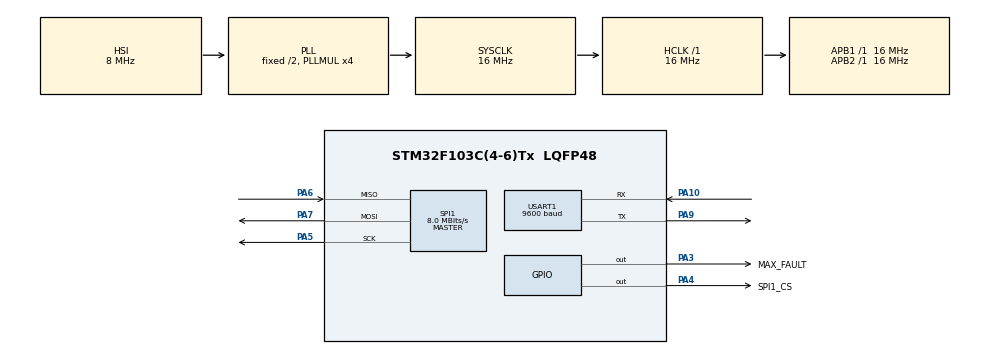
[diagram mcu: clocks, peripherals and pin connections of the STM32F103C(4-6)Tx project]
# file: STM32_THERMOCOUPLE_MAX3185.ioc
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Mcu.Family=STM32F1
Mcu.Name=STM32F103C(4-6)Tx
Mcu.Package=LQFP48
NVIC.PriorityGroup=NVIC_PRIORITYGROUP_4
PA10.Mode=Asynchronous
PA10.Signal=USART1_RX
PA3.GPIO_Label=MAX_FAULT
PA3.Signal=GPIO_Output
PA4.GPIO_Label=SPI1_CS
PA4.Signal=GPIO_Output
PA5.Mode=Full_Duplex_Master
PA5.Signal=SPI1_SCK
PA6.Mode=Full_Duplex_Master
PA6.Signal=SPI1_MISO
PA7.Mode=Full_Duplex_Master
PA7.Signal=SPI1_MOSI
PA9.Mode=Asynchronous
PA9.Signal=USART1_TX
ProjectManager.HeapSize=0x200
ProjectManager.StackSize=0x400
ProjectManager.TargetToolchain=STM32CubeIDE
RCC.AHBFreq_Value=16000000
RCC.APB1Freq_Value=16000000
RCC.APB1TimFreq_Value=16000000
RCC.APB2Freq_Value=16000000
RCC.APB2TimFreq_Value=16000000
RCC.HCLKFreq_Value=16000000
RCC.PLLMUL=RCC_PLL_MUL4
RCC.SYSCLKFreq_VALUE=16000000
RCC.SYSCLKSource=RCC_SYSCLKSOURCE_PLLCLK
RCC.USBFreq_Value=16000000
SPI1.CLKPhase=SPI_PHASE_2EDGE
SPI1.CalculateBaudRate=8.0 MBits/s
SPI1.Direction=SPI_DIRECTION_2LINES
SPI1.Mode=SPI_MODE_MASTER
SPI1.VirtualType=VM_MASTER
USART1.BaudRate=9600
USART1.VirtualMode=VM_ASYNC
VP_SYS_VS_ND.Mode=No_Debug
board=custom

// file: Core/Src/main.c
/* USER CODE BEGIN Header */
/**
  ******************************************************************************
  * @file           : main.c
  * @brief          : Main program body
  ******************************************************************************
  * @attention
  *
  * Copyright (c) 2024 STMicroelectronics.
  * All rights reserved.
  *
  * This software is licensed under terms that can be found in the LICENSE file
  * in the root directory of this software component.
  * If no LICENSE file comes with this software, it is provided AS-IS.
  *
  ******************************************************************************
  */
/* USER CODE END Header */
#include "main.h"

/* USER CODE BEGIN Includes */
#include "Max31856.h"
#include<stdio.h>
#include<string.h>
/* USER CODE END Includes */

SPI_HandleTypeDef hspi1;

UART_HandleTypeDef huart1;

void SystemClock_Config(void);
static void MX_GPIO_Init(void);
static void MX_SPI1_Init(void);
static void MX_USART1_UART_Init(void);

int main(void)
{

  /* USER CODE BEGIN 1 */
  char MSG[100];
       char MSG0[100];
       char MSG1[100]=  "Could not initialize thermocouple\n\r";
       char MSG3[100]=  "$$***************************************$$\n\r";
       char MSG2[100]=  "Thermocouple type: ";
       char MSG4[100]=  "B Type\n\r";
       char MSG5[100]=  "E Type\n\r";
       char MSG6[100]=  "J Type\n\r";
       char MSG7[100]=  "K Type\n\r";
       char MSG8[100]=  "N Type\n\r";
       char MSG9[100]=  "R Type\n\r";
       char MSG10[100]= "S Type\n\r";
       char MSG11[100]= "T Type\n\r";
       char MSG12[100]= "Voltage x8 Gain mode\n\r";
       char MSG13[100]= "Voltage x8 Gain mode\n\r";
       char MSG14[100]= "Unknown\n\r";
       char MSG15[100]= "Cold Junction Range Fault\n\r";
       char MSG16[100]= "Thermocouple Range Fault\n\r";
       char MSG17[100]= "Cold Junction High Fault\n\r";
       char MSG18[100]= "Cold Junction Low Fault\n\r";
       char MSG19[100]= "Thermocouple High Fault\n\r";
       char MSG20[100]= "Thermocouple Low Fault\n\r";
       char MSG21[100]= "Over/Under Voltage Fault\n\r";
       char MSG22[100]= "hermocouple Open Faultn\r";

  /* USER CODE END 1 */

  /* MCU Configuration--------------------------------------------------------*/

  /* Reset of all peripherals, Initializes the Flash interface and the Systick. */
  HAL_Init();

  /* Configure the system clock */
  SystemClock_Config();

  /* Initialize all configured peripherals */
  MX_GPIO_Init();
  MX_SPI1_Init();
  MX_USART1_UART_Init();
  /* USER CODE BEGIN 2 */
  if (!begin()) {
        HAL_UART_Transmit(&huart1,(uint8_t*)MSG1,sizeof(MSG1), 100);
        while (1) HAL_Delay(10);
      }
    setThermocoupleType(MAX31856_TCTYPE_K);
    HAL_UART_Transmit(&huart1,(uint8_t*)MSG2,sizeof(MSG2), 100);

  switch (getThermocoupleType() ) {
    case MAX31856_TCTYPE_B: HAL_UART_Transmit(&huart1,(uint8_t*)MSG4,sizeof(MSG4), 100);  break;
    case MAX31856_TCTYPE_E: HAL_UART_Transmit(&huart1,(uint8_t*)MSG5,sizeof(MSG5), 100);  break;
    case MAX31856_TCTYPE_J: HAL_UART_Transmit(&huart1,(uint8_t*)MSG6,sizeof(MSG6), 100);  break;
    case MAX31856_TCTYPE_K: HAL_UART_Transmit(&huart1,(uint8_t*)MSG7,sizeof(MSG7), 100);  break;
    case MAX31856_TCTYPE_N: HAL_UART_Transmit(&huart1,(uint8_t*)MSG8,sizeof(MSG8), 100);  break;
    case MAX31856_TCTYPE_R: HAL_UART_Transmit(&huart1,(uint8_t*)MSG9,sizeof(MSG9), 100);  break;
    case MAX31856_TCTYPE_S: HAL_UART_Transmit(&huart1,(uint8_t*)MSG10,sizeof(MSG10), 100);  break;
    case MAX31856_TCTYPE_T: HAL_UART_Transmit(&huart1,(uint8_t*)MSG11,sizeof(MSG11), 100);  break;
    case MAX31856_VMODE_G8:  HAL_UART_Transmit(&huart1,(uint8_t*)MSG12,sizeof(MSG12), 100); break;
    case MAX31856_VMODE_G32: HAL_UART_Transmit(&huart1,(uint8_t*)MSG13,sizeof(MSG13), 100); break;
    default:  HAL_UART_Transmit(&huart1,(uint8_t*)MSG14,sizeof(MSG14), 100);break;
    }
  HAL_Delay(2000);
  /* USER CODE END 2 */

  /* Infinite loop */
  while (1)
  {

    /* USER CODE BEGIN 3 */
    sprintf(MSG,"1-Cold Junction Temp: %.2f degrees Celsius\n\r",readCJTemperature());
    sprintf(MSG0,"2-Thermocouple Temp: %.2f degrees Celsius\n\r",
    readThermocoupleTemperature());
    HAL_UART_Transmit(&huart1,(uint8_t *) MSG, sizeof(MSG), 100);
    HAL_UART_Transmit(&huart1,(uint8_t *) MSG0, sizeof(MSG0), 100);
    HAL_UART_Transmit(&huart1,(uint8_t *) MSG3, sizeof(MSG3), 100);
    uint8_t fault = readFault();
    if (fault) {
    if (fault & MAX31856_FAULT_CJRANGE)  HAL_UART_Transmit(&huart1,(uint8_t*)MSG15,sizeof(MSG15), 100);
    if (fault & MAX31856_FAULT_TCRANGE)  HAL_UART_Transmit(&huart1,(uint8_t*)MSG16,sizeof(MSG16), 100);
    if (fault & MAX31856_FAULT_CJHIGH)   HAL_UART_Transmit(&huart1,(uint8_t*)MSG17,sizeof(MSG17), 100);
    if (fault & MAX31856_FAULT_CJLOW)    HAL_UART_Transmit(&huart1,(uint8_t*)MSG18,sizeof(MSG18), 100);
    if (fault & MAX31856_FAULT_TCHIGH)   HAL_UART_Transmit(&huart1,(uint8_t*)MSG19,sizeof(MSG19), 100);
    if (fault & MAX31856_FAULT_TCLOW)    HAL_UART_Transmit(&huart1,(uint8_t*)MSG20,sizeof(MSG20), 100);
    if (fault & MAX31856_FAULT_OVUV)     HAL_UART_Transmit(&huart1,(uint8_t*)MSG21,sizeof(MSG21), 100);
    if (fault & MAX31856_FAULT_OPEN)     HAL_UART_Transmit(&huart1,(uint8_t*)MSG22,sizeof(MSG22), 100);
    }
    HAL_UART_Transmit(&huart1,(uint8_t *) MSG, sizeof(MSG), 100);
    HAL_Delay(1000);
  }
  /* USER CODE END 3 */
}

void SystemClock_Config(void)
{
  RCC_OscInitTypeDef RCC_OscInitStruct = {0};
  RCC_ClkInitTypeDef RCC_ClkInitStruct = {0};

  /** Initializes the RCC Oscillators according to the specified parameters
  * in the RCC_OscInitTypeDef structure.
  */
  RCC_OscInitStruct.OscillatorType = RCC_OSCILLATORTYPE_HSI;
  RCC_OscInitStruct.HSIState = RCC_HSI_ON;
  RCC_OscInitStruct.HSICalibrationValue = RCC_HSICALIBRATION_DEFAULT;
  RCC_OscInitStruct.PLL.PLLState = RCC_PLL_ON;
  RCC_OscInitStruct.PLL.PLLSource = RCC_PLLSOURCE_HSI_DIV2;
  RCC_OscInitStruct.PLL.PLLMUL = RCC_PLL_MUL4;
  if (HAL_RCC_OscConfig(&RCC_OscInitStruct) != HAL_OK)
  {
    Error_Handler();
  }

  /** Initializes the CPU, AHB and APB buses clocks
  */
  RCC_ClkInitStruct.ClockType = RCC_CLOCKTYPE_HCLK|RCC_CLOCKTYPE_SYSCLK
                              |RCC_CLOCKTYPE_PCLK1|RCC_CLOCKTYPE_PCLK2;
  RCC_ClkInitStruct.SYSCLKSource = RCC_SYSCLKSOURCE_PLLCLK;
  RCC_ClkInitStruct.AHBCLKDivider = RCC_SYSCLK_DIV1;
  RCC_ClkInitStruct.APB1CLKDivider = RCC_HCLK_DIV1;
  RCC_ClkInitStruct.APB2CLKDivider = RCC_HCLK_DIV1;

  if (HAL_RCC_ClockConfig(&RCC_ClkInitStruct, FLASH_LATENCY_0) != HAL_OK)
  {
    Error_Handler();
  }
}

static void MX_SPI1_Init(void)
{

  /* SPI1 parameter configuration*/
  hspi1.Instance = SPI1;
  hspi1.Init.Mode = SPI_MODE_MASTER;
  hspi1.Init.Direction = SPI_DIRECTION_2LINES;
  hspi1.Init.DataSize = SPI_DATASIZE_8BIT;
  hspi1.Init.CLKPolarity = SPI_POLARITY_LOW;
  hspi1.Init.CLKPhase = SPI_PHASE_2EDGE;
  hspi1.Init.NSS = SPI_NSS_SOFT;
  hspi1.Init.BaudRatePrescaler = SPI_BAUDRATEPRESCALER_2;
  hspi1.Init.FirstBit = SPI_FIRSTBIT_MSB;
  hspi1.Init.TIMode = SPI_TIMODE_DISABLE;
  hspi1.Init.CRCCalculation = SPI_CRCCALCULATION_DISABLE;
  hspi1.Init.CRCPolynomial = 10;
  if (HAL_SPI_Init(&hspi1) != HAL_OK)
  {
    Error_Handler();
  }

}

static void MX_USART1_UART_Init(void)
{

  huart1.Instance = USART1;
  huart1.Init.BaudRate = 9600;
  huart1.Init.WordLength = UART_WORDLENGTH_8B;
  huart1.Init.StopBits = UART_STOPBITS_1;
  huart1.Init.Parity = UART_PARITY_NONE;
  huart1.Init.Mode = UART_MODE_TX_RX;
  huart1.Init.HwFlowCtl = UART_HWCONTROL_NONE;
  huart1.Init.OverSampling = UART_OVERSAMPLING_16;
  if (HAL_UART_Init(&huart1) != HAL_OK)
  {
    Error_Handler();
  }

}

static void MX_GPIO_Init(void)
{
  GPIO_InitTypeDef GPIO_InitStruct = {0};

  /* GPIO Ports Clock Enable */
  __HAL_RCC_GPIOA_CLK_ENABLE();

  /*Configure GPIO pin Output Level */
  HAL_GPIO_WritePin(GPIOA, MAX_FAULT_Pin|SPI1_CS_Pin, GPIO_PIN_RESET);

  /*Configure GPIO pins : MAX_FAULT_Pin SPI1_CS_Pin */
  GPIO_InitStruct.Pin = MAX_FAULT_Pin|SPI1_CS_Pin;
  GPIO_InitStruct.Mode = GPIO_MODE_OUTPUT_PP;
  GPIO_InitStruct.Pull = GPIO_NOPULL;
  GPIO_InitStruct.Speed = GPIO_SPEED_FREQ_LOW;
  HAL_GPIO_Init(GPIOA, &GPIO_InitStruct);

}

void Error_Handler(void)
{
  __disable_irq();
  while (1)
  {
  }
}
